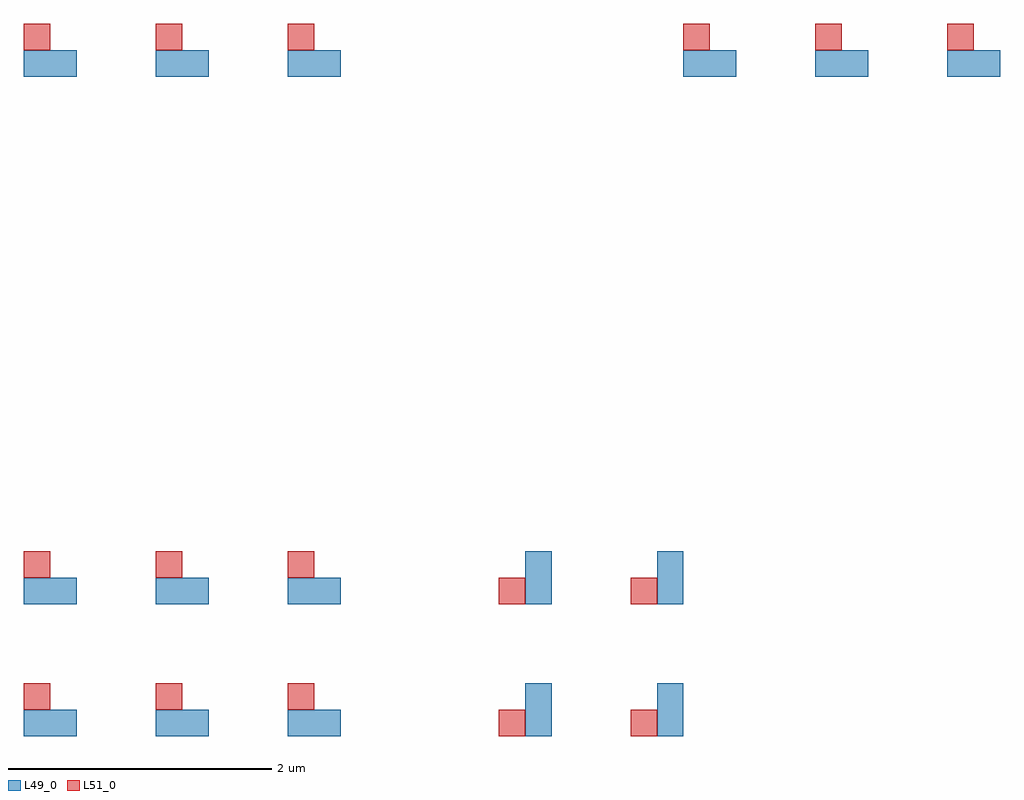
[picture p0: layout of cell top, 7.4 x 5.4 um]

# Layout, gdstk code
from math import pi, radians
import gdstk
lib = gdstk.Library(unit=1e-6, precision=1e-09)
def R(c, l, rs):  # rectangles x0, y0, x1, y1
    for r in rs: c.add(gdstk.rectangle(r[:2], r[2:], *l))
L49_0 = (49, 0)
L51_0 = (51, 0)

c_c = lib.new_cell('c')
R(c_c, L49_0, [(0,0,0.4,0.2)])
R(c_c, L51_0, [(0,0.2,0.2,0.4)])

top = lib.new_cell('top')
top.add(gdstk.Reference(c_c, (5,5)))
top.add(gdstk.Reference(c_c, (6,5)))
top.add(gdstk.Reference(c_c, (7,5)))
top.add(gdstk.Reference(c_c, (0,5)))
top.add(gdstk.Reference(c_c, (1,5)))
top.add(gdstk.Reference(c_c, (2,5)))
top.add(gdstk.Reference(c_c, (5,0), rotation=pi/2))
top.add(gdstk.Reference(c_c, (4,0), rotation=pi/2))
top.add(gdstk.Reference(c_c, (5,1), rotation=pi/2))
top.add(gdstk.Reference(c_c, (4,1), rotation=pi/2))
top.add(gdstk.Reference(c_c, (0,0)))
top.add(gdstk.Reference(c_c, (0,1)))
top.add(gdstk.Reference(c_c, (1,0)))
top.add(gdstk.Reference(c_c, (1,1)))
top.add(gdstk.Reference(c_c, (2,0)))
top.add(gdstk.Reference(c_c, (2,1)))

lib.write_gds('top.gds')
